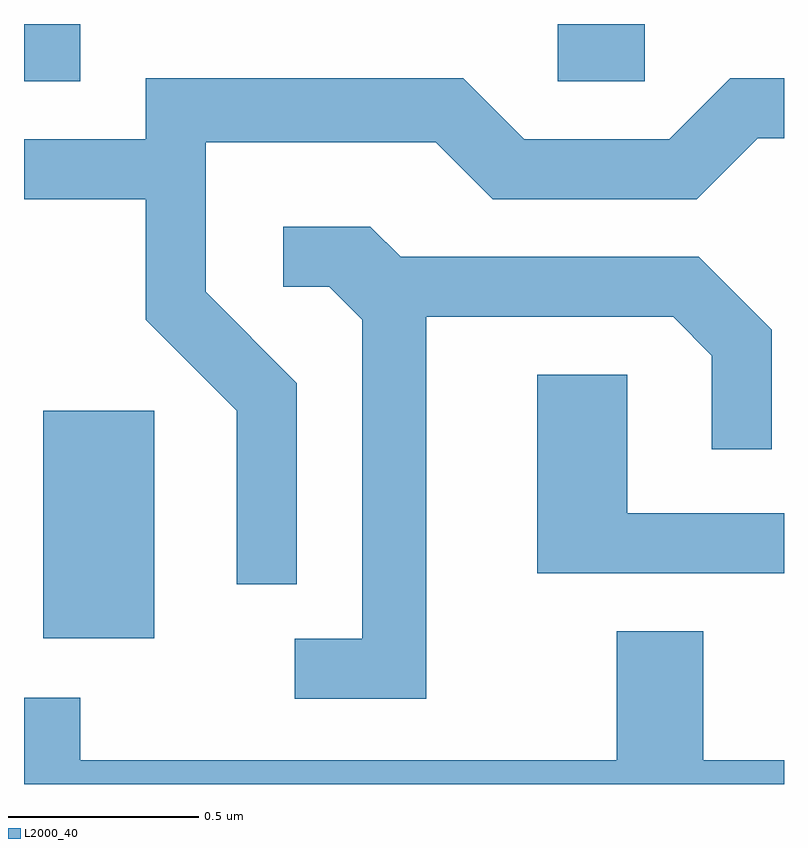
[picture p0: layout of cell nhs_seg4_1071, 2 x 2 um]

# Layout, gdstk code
import gdstk
lib = gdstk.Library(unit=1e-6, precision=1e-09)
def R(c, l, rs):  # rectangles x0, y0, x1, y1
    for r in rs: c.add(gdstk.rectangle(r[:2], r[2:], *l))
def P(c, l, *ps):  # polygons
    for p in ps: c.add(gdstk.Polygon(p, *l))
L2000_40 = (2000, 40)

nhs_seg4_1071 = lib.new_cell('nhs_seg4_1071')
R(nhs_seg4_1071, L2000_40, [(192.661,1366.366,192.954,1366.964), (192.611,1367.831,192.759,1367.982), (194.016,1367.831,194.244,1367.982)])
P(nhs_seg4_1071, L2000_40, [(193.329,1367.037),(193.089,1367.277),(193.089,1367.671),(193.694,1367.671),(193.844,1367.521),(194.382,1367.521),(194.542,1367.681),(194.611,1367.681),(194.611,1367.839),(194.469,1367.839),(194.309,1367.679),(193.927,1367.679),(193.767,1367.839),(192.931,1367.839),(192.931,1367.679),(192.611,1367.679),(192.611,1367.521),(192.931,1367.521),(192.931,1367.204),(193.171,1366.964),(193.171,1366.508),(193.329,1366.508)],
  [(193.669,1367.211),(194.319,1367.211),(194.421,1367.109),(194.421,1366.863),(194.579,1366.863),(194.579,1367.177),(194.387,1367.369),(193.602,1367.369),(193.522,1367.449),(193.293,1367.449),(193.293,1367.291),(193.414,1367.291),(193.501,1367.204),(193.501,1366.364),(193.323,1366.364),(193.323,1366.206),(193.669,1366.206)],
  [(194.611,1366.694),(194.199,1366.694),(194.199,1367.059),(193.961,1367.059),(193.961,1366.536),(194.611,1366.536)],
  [(194.611,1366.044),(194.399,1366.044),(194.399,1366.384),(194.171,1366.384),(194.171,1366.044),(192.759,1366.044),(192.759,1366.209),(192.611,1366.209),(192.611,1365.982),(194.611,1365.982)])

lib.write_gds('nhs_seg4_1071.gds')
